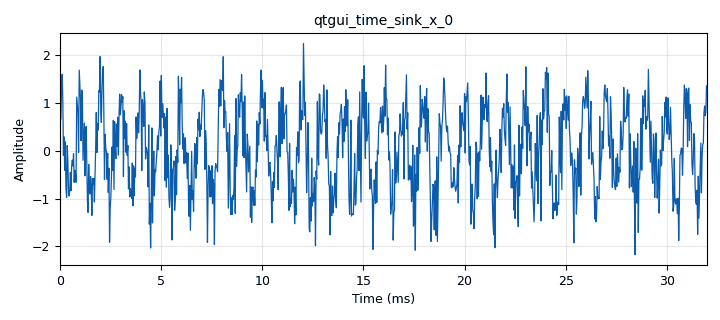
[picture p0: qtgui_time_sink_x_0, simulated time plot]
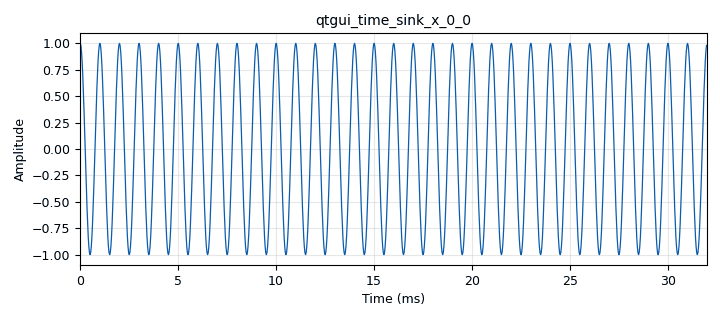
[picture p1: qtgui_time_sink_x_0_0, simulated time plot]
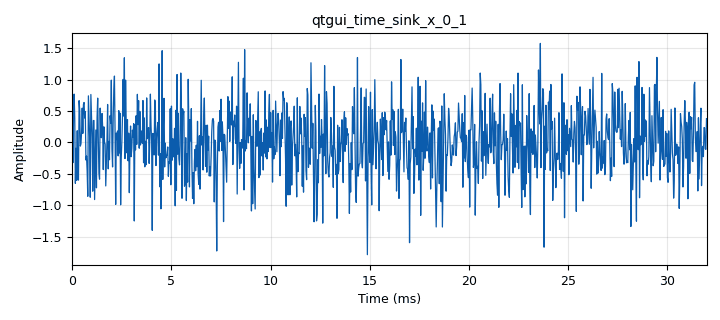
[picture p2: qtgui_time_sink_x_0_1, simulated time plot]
options:
  parameters:
    generate_options: qt_gui
    id: untitled
    output_language: python
    title: Not titled yet
  states: {}

blocks:
- name: samp_rate
  id: variable
  parameters:
    value: '32000'
  states: {}
- name: Media
  id: qtgui_number_sink
  parameters:
    graph_type: qtgui.NUM_GRAPH_HORIZ
    name: '"Media"'
    type: float
  states: {}
- name: Mediacuadratica
  id: qtgui_number_sink
  parameters:
    graph_type: qtgui.NUM_GRAPH_HORIZ
    name: '"Media  cuadratica"'
    type: float
  states: {}
- name: Potenciapromedio
  id: qtgui_number_sink
  parameters:
    graph_type: qtgui.NUM_GRAPH_HORIZ
    name: '"Potencia Promedio"'
    type: float
  states: {}
- name: RMS
  id: qtgui_number_sink
  parameters:
    graph_type: qtgui.NUM_GRAPH_HORIZ
    name: '"RMS"'
    type: float
  states: {}
- name: analog_noise_source_x_0
  id: analog_noise_source_x
  parameters:
    amp: '0.5'
    noise_type: analog.GR_GAUSSIAN
    seed: '0'
    type: float
  states: {}
- name: analog_sig_source_x_0
  id: analog_sig_source_x
  parameters:
    amp: '1'
    freq: '1000'
    offset: '0'
    phase: '0'
    samp_rate: samp_rate
    type: float
    waveform: analog.GR_COS_WAVE
  states: {}
- name: blocks_add_xx_0
  id: blocks_add_xx
  parameters:
    type: float
  states: {}
- name: desviaciónestandar
  id: qtgui_number_sink
  parameters:
    graph_type: qtgui.NUM_GRAPH_HORIZ
    name: '"desviación estandar"'
    type: float
  states: {}
- name: epy_block_2
  id: epy_block
  parameters:
    _source_code: "import numpy as np\nfrom gnuradio import gr\n\nclass blk(gr.sync_block):\n    def __init__(self):\n        gr.sync_block.__init__(\n            self,\n            name='Promedios_de_tiempos',\n            in_sig=[np.float32],\n            out_sig=[np.float32, np.float32, np.float32, np.float32, np.float32]\n        )\n        # Variables de estado persistentes\n        self.acum_x = 0.0\n        self.acum_x2 = 0.0\n        self.Ntotales = 0\n\n    def work(self, input_items, output_items):\n        x = input_items[0]       # Señal de entrada\n        y0 = output_items[0]     # Promedio acumulado (Media)\n        y1 = output_items[1]     # Media cuadrática (MS)\n        y2 = output_items[2]     # RMS\n        y3 = output_items[3]     # Potencia promedio\n        y4 = output_items[4]     # Desviación estándar (Std)\n        \n        N = len(x)\n        if N == 0:\n            return 0\n            \n        # 1. Actualizar el contador global de muestras\n        self.Ntotales += N\n        \n        # 2. Acumulación histórica lineal y cuadrática\n        self.acum_x += np.sum(x)\n        self.acum_x2 += np.sum(x**2)\n        \n        # 3. Cálculo de estimadores temporales globales\n        media_global = self.acum_x / self.Ntotales\n        ms_global = self.acum_x2 / self.Ntotales      # Media de los cuadrados\n        rms_global = np.sqrt(ms_global)\n        \n        # 4. Varianza = E[X^2] - (E[X])^2\n        varianza = ms_global - (media_global**2)\n        if varianza < 0: \n            varianza = 0  # Evita errores numéricos de precisión por flotantes\n        std_global = np.sqrt(varianza)\n        \n        # 5. Asignar los valores calculados a los vectores de salida de GRC\n        y0[:] = media_global\n        y1[:] = ms_global\n        y2[:] = rms_global\n        y3[:] = ms_global  # En ingeniería, la potencia promedio de una señal es su MS\n        y4[:] = std_global\n        \n        return len(x)\n\n"
  states: {}
- name: qtgui_time_sink_x_0
  id: qtgui_time_sink_x
  parameters:
    autoscale: 'True'
    size: '1024'
    srate: samp_rate
    type: float
  states: {}
- name: qtgui_time_sink_x_0_0
  id: qtgui_time_sink_x
  parameters:
    autoscale: 'True'
    size: '1024'
    srate: samp_rate
    type: float
  states: {}
- name: qtgui_time_sink_x_0_1
  id: qtgui_time_sink_x
  parameters:
    autoscale: 'True'
    size: '1024'
    srate: samp_rate
    type: float
  states: {}

connections:
- [analog_noise_source_x_0, '0', blocks_add_xx_0, '1']
- [analog_noise_source_x_0, '0', qtgui_time_sink_x_0_1, '0']
- [analog_sig_source_x_0, '0', blocks_add_xx_0, '0']
- [analog_sig_source_x_0, '0', qtgui_time_sink_x_0_0, '0']
- [blocks_add_xx_0, '0', epy_block_2, '0']
- [blocks_add_xx_0, '0', qtgui_time_sink_x_0, '0']
- [epy_block_2, '0', Media, '0']
- [epy_block_2, '1', Mediacuadratica, '0']
- [epy_block_2, '2', RMS, '0']
- [epy_block_2, '3', Potenciapromedio, '0']
- [epy_block_2, '4', desviaciónestandar, '0']

metadata:
  file_format: 1
  grc_version: 3.10.9.2
